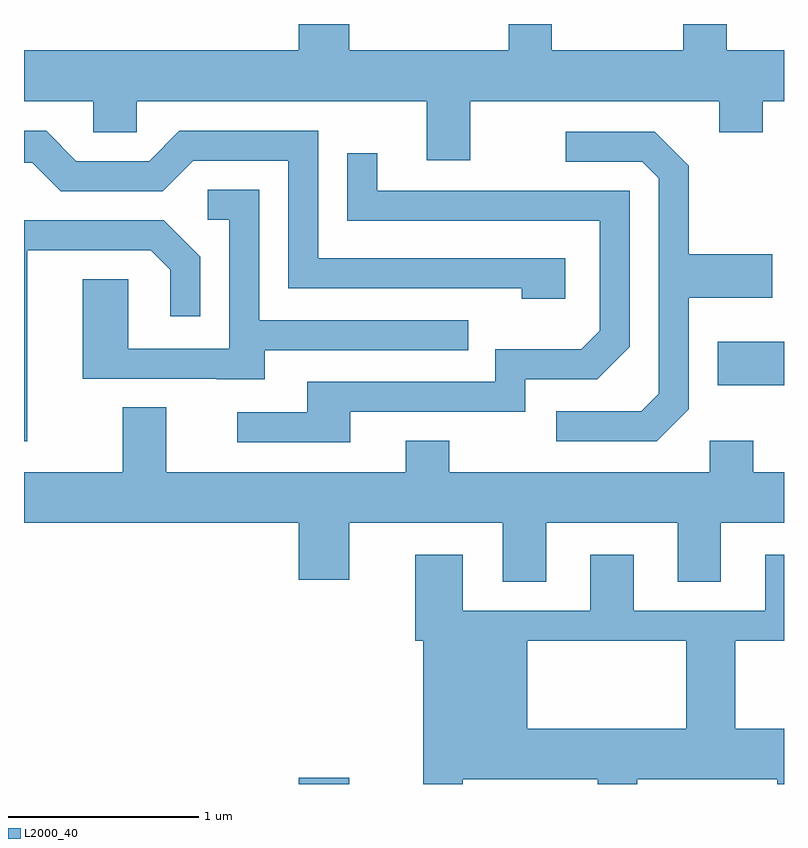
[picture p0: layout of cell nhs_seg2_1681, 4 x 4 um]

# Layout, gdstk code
import gdstk
lib = gdstk.Library(unit=1e-6, precision=1e-09)
def R(c, l, rs):  # rectangles x0, y0, x1, y1
    for r in rs: c.add(gdstk.rectangle(r[:2], r[2:], *l))
def P(c, l, *ps):  # polygons
    for p in ps: c.add(gdstk.Polygon(p, *l))
L2000_40 = (2000, 40)

nhs_seg2_1681 = lib.new_cell('nhs_seg2_1681')
R(nhs_seg2_1681, L2000_40, [(235.056,1075.802,235.324,1075.834), (237.261,1077.901,237.611,1078.129)])
P(nhs_seg2_1681, L2000_40, [(235.959,1079.396),(237.271,1079.396),(237.271,1079.231),(237.499,1079.231),(237.499,1079.396),(237.611,1079.396),(237.611,1079.664),(237.309,1079.664),(237.309,1079.802),(237.081,1079.802),(237.081,1079.664),(236.389,1079.664),(236.389,1079.802),(236.161,1079.802),(236.161,1079.664),(235.324,1079.664),(235.324,1079.802),(235.056,1079.802),(235.056,1079.664),(233.611,1079.664),(233.611,1079.396),(233.976,1079.396),(233.976,1079.231),(234.204,1079.231),(234.204,1079.396),(235.731,1079.396),(235.731,1079.086),(235.959,1079.086)],
  [(236.459,1078.569),(235.159,1078.569),(235.159,1079.239),(234.429,1079.239),(234.269,1079.079),(233.887,1079.079),(233.727,1079.239),(233.611,1079.239),(233.611,1079.071),(233.654,1079.071),(233.804,1078.921),(234.342,1078.921),(234.502,1079.081),(235.001,1079.081),(235.001,1078.411),(236.231,1078.411),(236.231,1078.356),(236.459,1078.356)],
  [(237.109,1077.774),(237.109,1078.361),(237.549,1078.361),(237.549,1078.589),(237.109,1078.589),(237.109,1079.057),(236.932,1079.234),(236.463,1079.234),(236.463,1079.076),(236.864,1079.076),(236.951,1078.989),(236.951,1077.857),(236.859,1077.764),(236.413,1077.764),(236.413,1077.606),(236.942,1077.606)],
  [(235.329,1077.761),(236.249,1077.761),(236.249,1077.931),(236.627,1077.931),(236.799,1078.104),(236.799,1078.924),(235.469,1078.924),(235.469,1079.123),(235.311,1079.123),(235.311,1078.766),(236.641,1078.766),(236.641,1078.187),(236.544,1078.089),(236.091,1078.089),(236.091,1077.919),(235.101,1077.919),(235.101,1077.759),(234.733,1077.759),(234.733,1077.601),(235.329,1077.601)],
  [(234.879,1078.086),(235.948,1078.086),(235.948,1078.244),(234.849,1078.244),(234.849,1078.929),(234.578,1078.929),(234.578,1078.771),(234.691,1078.771),(234.691,1078.094),(234.159,1078.094),(234.159,1078.459),(233.921,1078.459),(233.921,1077.936),(234.625,1077.936),(234.625,1077.931),(234.879,1077.931)],
  [(233.629,1078.611),(234.279,1078.611),(234.381,1078.509),(234.381,1078.263),(234.539,1078.263),(234.539,1078.577),(234.347,1078.769),(233.611,1078.769),(233.611,1077.606),(233.629,1077.606)],
  [(235.849,1077.609),(235.621,1077.609),(235.621,1077.444),(234.359,1077.444),(234.359,1077.784),(234.131,1077.784),(234.131,1077.444),(233.611,1077.444),(233.611,1077.176),(235.056,1077.176),(235.056,1076.876),(235.324,1076.876),(235.324,1077.176),(236.131,1077.176),(236.131,1076.866),(236.359,1076.866),(236.359,1077.176),(237.051,1077.176),(237.051,1076.866),(237.279,1076.866),(237.279,1077.176),(237.611,1077.176),(237.611,1077.444),(237.449,1077.444),(237.449,1077.609),(237.221,1077.609),(237.221,1077.444),(235.849,1077.444)],
  [(235.919,1075.802),(235.919,1075.826),(236.631,1075.826),(236.631,1075.802),(236.839,1075.802),(236.839,1075.826),(237.576,1075.826),(237.576,1075.802),(237.611,1075.802),(237.611,1076.094),(237.354,1076.094),(237.354,1076.556),(237.611,1076.556),(237.611,1077.009),(237.511,1077.009),(237.511,1076.714),(236.819,1076.714),(236.819,1077.009),(236.591,1077.009),(236.591,1076.714),(235.919,1076.714),(235.919,1077.009),(235.671,1077.009),(235.671,1076.556),(235.711,1076.556),(235.711,1076.094),(236.259,1076.094),(236.259,1076.556),(237.096,1076.556),(237.096,1076.094),(236.259,1076.094),(235.711,1076.094),(235.711,1075.802)])

lib.write_gds('nhs_seg2_1681.gds')
